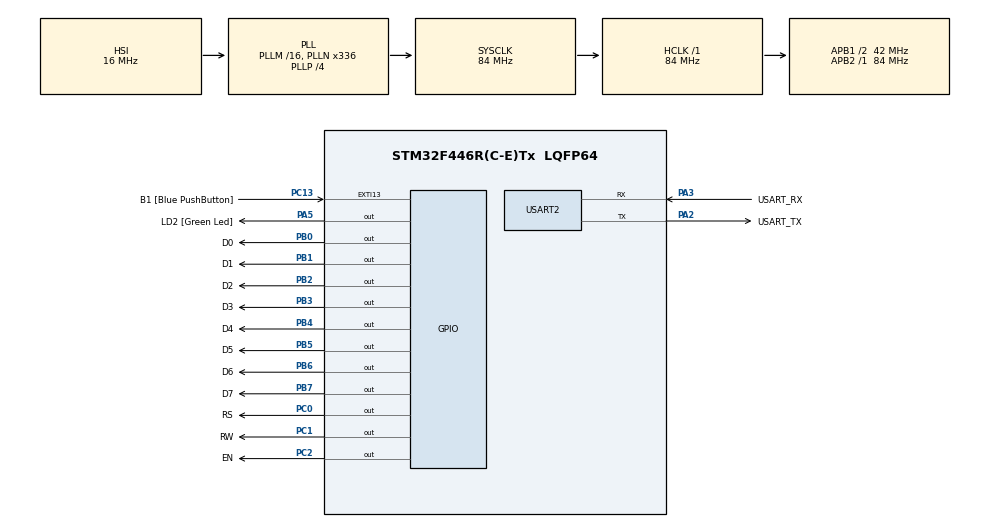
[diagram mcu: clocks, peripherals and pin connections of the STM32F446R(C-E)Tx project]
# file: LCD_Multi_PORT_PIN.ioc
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Mcu.Family=STM32F4
Mcu.Name=STM32F446R(C-E)Tx
Mcu.Package=LQFP64
NVIC.PriorityGroup=NVIC_PRIORITYGROUP_0
PA13.GPIO_Label=TMS
PA13.Mode=Serial_Wire
PA13.Signal=SYS_JTMS-SWDIO
PA14.GPIO_Label=TCK
PA14.Mode=Serial_Wire
PA14.Signal=SYS_JTCK-SWCLK
PA2.GPIO_Label=USART_TX
PA2.Mode=Asynchronous
PA2.Signal=USART2_TX
PA3.GPIO_Label=USART_RX
PA3.Mode=Asynchronous
PA3.Signal=USART2_RX
PA5.GPIO_Label=LD2 [Green Led]
PA5.Signal=GPIO_Output
PB0.GPIO_Label=D0
PB0.Signal=GPIO_Output
PB1.GPIO_Label=D1
PB1.Signal=GPIO_Output
PB2.GPIO_Label=D2
PB2.Signal=GPIO_Output
PB3.GPIO_Label=D3
PB3.Signal=GPIO_Output
PB4.GPIO_Label=D4
PB4.Signal=GPIO_Output
PB5.GPIO_Label=D5
PB5.Signal=GPIO_Output
PB6.GPIO_Label=D6
PB6.Signal=GPIO_Output
PB7.GPIO_Label=D7
PB7.Signal=GPIO_Output
PC0.GPIO_Label=RS
PC0.Signal=GPIO_Output
PC1.GPIO_Label=RW
PC1.Signal=GPIO_Output
PC13.GPIO_Label=B1 [Blue PushButton]
PC13.GPIO_ModeDefaultEXTI=GPIO_MODE_IT_FALLING
PC13.Signal=GPXTI13
PC14-OSC32_IN.Mode=LSE-External-Oscillator
PC14-OSC32_IN.Signal=RCC_OSC32_IN
PC15-OSC32_OUT.Mode=LSE-External-Oscillator
PC15-OSC32_OUT.Signal=RCC_OSC32_OUT
PC2.GPIO_Label=EN
PC2.Signal=GPIO_Output
PH0-OSC_IN.Mode=HSE-External-Oscillator
PH0-OSC_IN.Signal=RCC_OSC_IN
PH1-OSC_OUT.Mode=HSE-External-Oscillator
PH1-OSC_OUT.Signal=RCC_OSC_OUT
ProjectManager.HeapSize=0x200
ProjectManager.StackSize=0x400
ProjectManager.TargetToolchain=STM32CubeIDE
RCC.48MHZClocksFreq_Value=84000000
RCC.AHBFreq_Value=84000000
RCC.APB1CLKDivider=RCC_HCLK_DIV2
RCC.APB1Freq_Value=42000000
RCC.APB1TimFreq_Value=84000000
RCC.APB2Freq_Value=84000000
RCC.APB2TimFreq_Value=84000000
RCC.CortexFreq_Value=84000000
RCC.FLatency-AdvancedSettings=FLASH_LATENCY_2
RCC.HCLKFreq_Value=84000000
RCC.HSE_VALUE=8000000
RCC.HSI_VALUE=16000000
RCC.PLLN=336
RCC.PLLP=RCC_PLLP_DIV4
RCC.SYSCLKFreq_VALUE=84000000
RCC.SYSCLKSource=RCC_SYSCLKSOURCE_PLLCLK
RCC.USBFreq_Value=168000000
RCC.VCOOutputFreq_Value=336000000
USART2.VirtualMode=VM_ASYNC
board=NUCLEO-F446RE

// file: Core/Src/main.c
/* USER CODE BEGIN Header */
/**
  ******************************************************************************
  * @file           : main.c
  * @brief          : Main program body
  ******************************************************************************
  * @attention
  *
  * Copyright (c) 2023 STMicroelectronics.
  * All rights reserved.
  *
  * This software is licensed under terms that can be found in the LICENSE file
  * in the root directory of this software component.
  * If no LICENSE file comes with this software, it is provided AS-IS.
  *
  ******************************************************************************
  */
/* USER CODE END Header */
#include "main.h"

/* USER CODE BEGIN PTD */

typedef union{

	struct{
		uint8_t b0:1;
		uint8_t b1:1;
		uint8_t b2:1;
		uint8_t b3:1;
		uint8_t b4:1;
		uint8_t b5:1;
		uint8_t b6:1;
		uint8_t b7:1;
	};

	struct{
		uint8_t nib1:4;
		uint8_t nib2:4;
	};

	uint8_t x;
}Typedef_LCD_PinConfig;

/* USER CODE END PTD */

/* USER CODE BEGIN PD */

#define LCD_CLEAR_SCREEN   0x01
#define LCD_8BIT_MODE      0x38
#define LCD_CURSOR_RIGHT   0x02
#define LCD_ENTRY_MODE     0x06
#define LCD_ON_CURSOR_OFF  0x0C
#define LCD_FIRST_ROW      0x80
#define LCD_SECOUND_ROW    0xC0
#define LCD_CGRAM_LOCation 0x40

/* USER CODE END PD */

UART_HandleTypeDef huart2;

/* USER CODE BEGIN PV */
//
//uint8_t battery1[] = {0x0E,0x0A,0x1B,0x11,0x11,0x11,0x11,0x1F};
//uint8_t battery2[] = {0x0E,0x0A,0x1B,0x11,0x11,0x11,0x1F,0x1F};
//uint8_t battery3[] = {0x0E,0x0A,0x1B,0x11,0x11,0x1F,0x1F,0x1F};
//uint8_t battery4[] = {0x0E,0x0A,0x1B,0x11,0x1F,0x1F,0x1F,0x1F};
//uint8_t battery5[] = {0x0E,0x0A,0x1B,0x1F,0x1F,0x1F,0x1F,0x1F};
//uint8_t battery6[] = {0x0E,0x0A,0x1F,0x1F,0x1F,0x1F,0x1F,0x1F};
//uint8_t battery7[] = {0x0E,0x0E,0x1F,0x1F,0x1F,0x1F,0x1F,0x1F};

/* USER CODE END PV */

void SystemClock_Config(void);
static void MX_GPIO_Init(void);
static void MX_USART2_UART_Init(void);
/* USER CODE BEGIN PFP */

void LCD_Initialize( void );
void Data_Write(uint8_t Byte);
void LCD_Data_Write(uint8_t data);
void LCD_Command_Write(uint8_t cmd);
//void LCD_String_Write(const uint8_t *ptr);
//void LCD_Location(uint8_t ROW_Position, uint8_t Col_Position);
//void LCD_Custom_Character(uint8_t CGRAM_LOC, uint8_t *icon );

/* USER CODE END PFP */

int main(void)
{

  /* MCU Configuration--------------------------------------------------------*/

  /* Reset of all peripherals, Initializes the Flash interface and the Systick. */
  HAL_Init();

  /* Configure the system clock */
  SystemClock_Config();

  /* Initialize all configured peripherals */
  MX_GPIO_Init();
  MX_USART2_UART_Init();
  /* USER CODE BEGIN 2 */
  LCD_Initialize();

//  LCD_Command_Write(LCD_FIRST_ROW);
//  LCD_String_Write((const uint8_t*)"  Battery Low  ");
//  LCD_Command_Write(LCD_SECOUND_ROW);
//    LCD_String_Write((const uint8_t*)" Please Charging  ");
//  HAL_Delay(5000);
//  LCD_Command_Write(LCD_CLEAR_SCREEN);
//
//
//  LCD_Custom_Character(0, battery1);
//  LCD_Location(0, 0);
//  LCD_Data_Write(0);
//  LCD_Location(0, 2);
//  LCD_String_Write((const uint8_t*)"  Charging...  ");
//  LCD_Command_Write(LCD_SECOUND_ROW);
//  LCD_String_Write((const uint8_t *)": Battery Low :");
//  HAL_Delay(3000);
//
//
//  LCD_Custom_Character(0, battery2);
//  LCD_Location(0, 0);
//  LCD_Data_Write(0);
//  LCD_Location(0, 2);
//  LCD_String_Write((const uint8_t*)"  Charging...  ");
//  LCD_Command_Write(LCD_SECOUND_ROW);
//  LCD_String_Write((const uint8_t *)": Battery Low :");
//  HAL_Delay(3000);
//
//  LCD_Custom_Character(0, battery3);
//  LCD_Location(0, 0);
//  LCD_Data_Write(0);
//  LCD_Location(0, 2);
//  LCD_String_Write((const uint8_t*)"  Charging...  ");
//  LCD_Command_Write(LCD_SECOUND_ROW);
//  LCD_String_Write((const uint8_t *)": Battery Low :");
//  HAL_Delay(3000);
//
//  LCD_Custom_Character(0, battery4);
//  LCD_Location(0, 0);
//  LCD_Data_Write(0);
//  LCD_Location(0, 2);
//  LCD_String_Write((const uint8_t*)"  Charging...  ");
//  LCD_Command_Write(LCD_SECOUND_ROW);
//  LCD_String_Write((const uint8_t *)": Battery Low :");
//  HAL_Delay(3000);
//
//  LCD_Custom_Character(0, battery5);
//  LCD_Location(0, 0);
//  LCD_Data_Write(0);
//  LCD_Location(0, 2);
//  LCD_String_Write((const uint8_t*)"  Charging...  ");
//  LCD_Command_Write(LCD_SECOUND_ROW);
//  LCD_String_Write((const uint8_t *)": Battery Low :");
//  HAL_Delay(3000);
//
//  LCD_Custom_Character(0, battery6);
//  LCD_Location(0, 0);
//  LCD_Data_Write(0);
//  LCD_Location(0, 2);
//  LCD_String_Write((const uint8_t*)"  Charging...  ");
//  LCD_Command_Write(LCD_SECOUND_ROW);
//  LCD_String_Write((const uint8_t *)": Battery Low :");
//  HAL_Delay(3000);
//
//  LCD_Custom_Character(0, battery7);
//  LCD_Location(0, 0);
//  LCD_Data_Write(0);
//  LCD_Location(0, 2);
//  LCD_String_Write((const uint8_t*)"  Charging...  ");
//  LCD_Command_Write(LCD_SECOUND_ROW);
//  LCD_String_Write((const uint8_t *)": Battery Low :");
//  HAL_Delay(3000);
//
//  LCD_Command_Write(LCD_SECOUND_ROW);
//  LCD_String_Write((const uint8_t *)": Battery Full :");
  /* USER CODE END 2 */

  /* Infinite loop */
  /* USER CODE BEGIN WHILE */
  while (1)
  {
	  LCD_Data_Write('A');
    /* USER CODE END WHILE */

  }
}

void SystemClock_Config(void)
{
  RCC_OscInitTypeDef RCC_OscInitStruct = {0};
  RCC_ClkInitTypeDef RCC_ClkInitStruct = {0};

  /** Configure the main internal regulator output voltage
  */
  __HAL_RCC_PWR_CLK_ENABLE();
  __HAL_PWR_VOLTAGESCALING_CONFIG(PWR_REGULATOR_VOLTAGE_SCALE3);

  /** Initializes the RCC Oscillators according to the specified parameters
  * in the RCC_OscInitTypeDef structure.
  */
  RCC_OscInitStruct.OscillatorType = RCC_OSCILLATORTYPE_HSI;
  RCC_OscInitStruct.HSIState = RCC_HSI_ON;
  RCC_OscInitStruct.HSICalibrationValue = RCC_HSICALIBRATION_DEFAULT;
  RCC_OscInitStruct.PLL.PLLState = RCC_PLL_ON;
  RCC_OscInitStruct.PLL.PLLSource = RCC_PLLSOURCE_HSI;
  RCC_OscInitStruct.PLL.PLLM = 16;
  RCC_OscInitStruct.PLL.PLLN = 336;
  RCC_OscInitStruct.PLL.PLLP = RCC_PLLP_DIV4;
  RCC_OscInitStruct.PLL.PLLQ = 2;
  RCC_OscInitStruct.PLL.PLLR = 2;
  if (HAL_RCC_OscConfig(&RCC_OscInitStruct) != HAL_OK)
  {
    Error_Handler();
  }

  /** Initializes the CPU, AHB and APB buses clocks
  */
  RCC_ClkInitStruct.ClockType = RCC_CLOCKTYPE_HCLK|RCC_CLOCKTYPE_SYSCLK
                              |RCC_CLOCKTYPE_PCLK1|RCC_CLOCKTYPE_PCLK2;
  RCC_ClkInitStruct.SYSCLKSource = RCC_SYSCLKSOURCE_PLLCLK;
  RCC_ClkInitStruct.AHBCLKDivider = RCC_SYSCLK_DIV1;
  RCC_ClkInitStruct.APB1CLKDivider = RCC_HCLK_DIV2;
  RCC_ClkInitStruct.APB2CLKDivider = RCC_HCLK_DIV1;

  if (HAL_RCC_ClockConfig(&RCC_ClkInitStruct, FLASH_LATENCY_2) != HAL_OK)
  {
    Error_Handler();
  }
}

static void MX_USART2_UART_Init(void)
{

  huart2.Instance = USART2;
  huart2.Init.BaudRate = 115200;
  huart2.Init.WordLength = UART_WORDLENGTH_8B;
  huart2.Init.StopBits = UART_STOPBITS_1;
  huart2.Init.Parity = UART_PARITY_NONE;
  huart2.Init.Mode = UART_MODE_TX_RX;
  huart2.Init.HwFlowCtl = UART_HWCONTROL_NONE;
  huart2.Init.OverSampling = UART_OVERSAMPLING_16;
  if (HAL_UART_Init(&huart2) != HAL_OK)
  {
    Error_Handler();
  }

}

static void MX_GPIO_Init(void)
{
  GPIO_InitTypeDef GPIO_InitStruct = {0};

  /* GPIO Ports Clock Enable */
  __HAL_RCC_GPIOC_CLK_ENABLE();
  __HAL_RCC_GPIOH_CLK_ENABLE();
  __HAL_RCC_GPIOA_CLK_ENABLE();
  __HAL_RCC_GPIOB_CLK_ENABLE();

  /*Configure GPIO pin Output Level */
  HAL_GPIO_WritePin(GPIOC, RS_Pin|RW_Pin|EN_Pin, GPIO_PIN_RESET);

  /*Configure GPIO pin Output Level */
  HAL_GPIO_WritePin(LD2_GPIO_Port, LD2_Pin, GPIO_PIN_RESET);

  /*Configure GPIO pin Output Level */
  HAL_GPIO_WritePin(GPIOB, D0_Pin|D1_Pin|D2_Pin|D3_Pin
                          |D4_Pin|D5_Pin|D6_Pin|D7_Pin, GPIO_PIN_RESET);

  /*Configure GPIO pin : B1_Pin */
  GPIO_InitStruct.Pin = B1_Pin;
  GPIO_InitStruct.Mode = GPIO_MODE_IT_FALLING;
  GPIO_InitStruct.Pull = GPIO_NOPULL;
  HAL_GPIO_Init(B1_GPIO_Port, &GPIO_InitStruct);

  /*Configure GPIO pins : RS_Pin RW_Pin EN_Pin */
  GPIO_InitStruct.Pin = RS_Pin|RW_Pin|EN_Pin;
  GPIO_InitStruct.Mode = GPIO_MODE_OUTPUT_PP;
  GPIO_InitStruct.Pull = GPIO_NOPULL;
  GPIO_InitStruct.Speed = GPIO_SPEED_FREQ_LOW;
  HAL_GPIO_Init(GPIOC, &GPIO_InitStruct);

  /*Configure GPIO pin : LD2_Pin */
  GPIO_InitStruct.Pin = LD2_Pin;
  GPIO_InitStruct.Mode = GPIO_MODE_OUTPUT_PP;
  GPIO_InitStruct.Pull = GPIO_NOPULL;
  GPIO_InitStruct.Speed = GPIO_SPEED_FREQ_LOW;
  HAL_GPIO_Init(LD2_GPIO_Port, &GPIO_InitStruct);

  /*Configure GPIO pins : D0_Pin D1_Pin D2_Pin D3_Pin
                           D4_Pin D5_Pin D6_Pin D7_Pin */
  GPIO_InitStruct.Pin = D0_Pin|D1_Pin|D2_Pin|D3_Pin
                          |D4_Pin|D5_Pin|D6_Pin|D7_Pin;
  GPIO_InitStruct.Mode = GPIO_MODE_OUTPUT_PP;
  GPIO_InitStruct.Pull = GPIO_NOPULL;
  GPIO_InitStruct.Speed = GPIO_SPEED_FREQ_LOW;
  HAL_GPIO_Init(GPIOB, &GPIO_InitStruct);

}

/* USER CODE BEGIN 4 */

void Data_Write(uint8_t Byte){

	Typedef_LCD_PinConfig y = (Typedef_LCD_PinConfig)Byte;

	HAL_GPIO_WritePin(GPIOB, D0_Pin, y.b0);
	HAL_GPIO_WritePin(GPIOB, D1_Pin, y.b1);
	HAL_GPIO_WritePin(GPIOB, D2_Pin, y.b2);
	HAL_GPIO_WritePin(GPIOB, D3_Pin, y.b3);
	HAL_GPIO_WritePin(GPIOB, D4_Pin, y.b4);
	HAL_GPIO_WritePin(GPIOB, D5_Pin, y.b5);
	HAL_GPIO_WritePin(GPIOB, D6_Pin, y.b6);
	HAL_GPIO_WritePin(GPIOB, D7_Pin, y.b7);

}

void LCD_Data_Write(uint8_t data){

	HAL_GPIO_WritePin(GPIOC, RS_Pin, GPIO_PIN_SET);

	Data_Write(data);

	HAL_GPIO_WritePin(GPIOC, RW_Pin, GPIO_PIN_RESET);
	HAL_GPIO_WritePin(GPIOC, EN_Pin, GPIO_PIN_SET);
	HAL_Delay(2);
	HAL_GPIO_WritePin(GPIOC, EN_Pin, GPIO_PIN_RESET);
	HAL_Delay(2);
}
void LCD_Command_Write(uint8_t cmd){

	HAL_GPIO_WritePin(GPIOC, RS_Pin, GPIO_PIN_RESET);

	Data_Write(cmd);

	HAL_GPIO_WritePin(GPIOC, RW_Pin, GPIO_PIN_RESET);
	HAL_GPIO_WritePin(GPIOC, EN_Pin, GPIO_PIN_SET);
	HAL_Delay(2);
	HAL_GPIO_WritePin(GPIOC, EN_Pin, GPIO_PIN_RESET);
	HAL_Delay(2);
}

//void LCD_String_Write(const uint8_t *ptr){
//
//	while(*ptr){
//
//		LCD_Data_Write(*ptr++);
//	}
//}

void LCD_Initialize( void ){

	LCD_Command_Write(LCD_CLEAR_SCREEN);
	LCD_Command_Write(LCD_CURSOR_RIGHT);
	LCD_Command_Write(LCD_ENTRY_MODE);
	LCD_Command_Write(LCD_8BIT_MODE);
	LCD_Command_Write(LCD_ON_CURSOR_OFF);

}

//void LCD_Location(uint8_t ROW_Position, uint8_t Col_Position){
//
//	if(ROW_Position == 2){
//
//		LCD_Command_Write(LCD_SECOUND_ROW | Col_Position);
//	}
//
//	else{
//
//		LCD_Command_Write(LCD_FIRST_ROW | Col_Position);
//	}
//}
//void LCD_Custom_Character(uint8_t CGRAM_LOC, uint8_t *icon ){
//	uint8_t i =0;
//	LCD_Command_Write(LCD_CGRAM_LOCation + (8 * CGRAM_LOC));
//
//	for(i = 0; i < 8 ; i++ ){
//
//		LCD_Data_Write(icon[i]);
//	}
//}
/* USER CODE END 4 */

void Error_Handler(void)
{
  __disable_irq();
  while (1)
  {
  }
}
